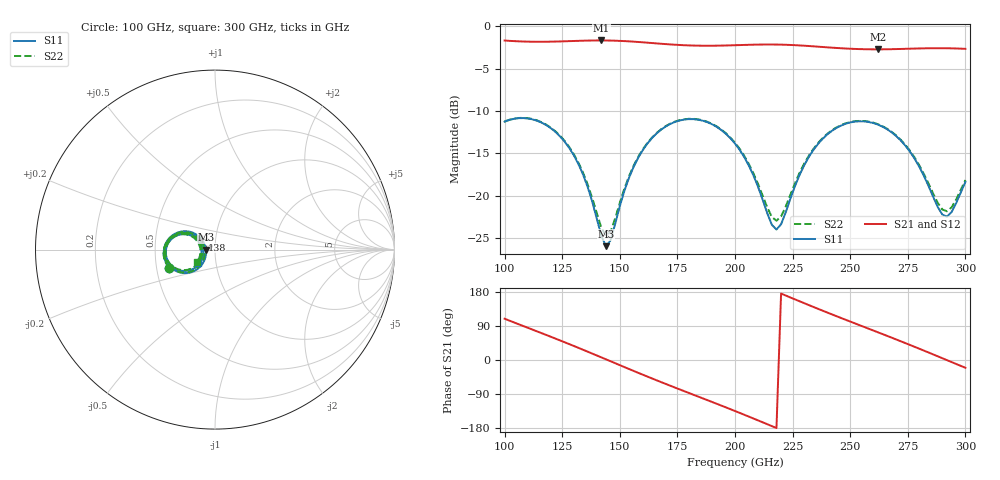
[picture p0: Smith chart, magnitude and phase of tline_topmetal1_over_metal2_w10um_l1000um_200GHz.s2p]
#  GHZ S DB R 50
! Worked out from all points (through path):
!   101 points, 100 GHz to 300 GHz, reference 50 ohm
!   highest |S21| = -1.69 dB at 142 GHz (marker M1); lowest = -2.7 dB at 262 GHz (marker M2)
!   group delay of S21, straight-line fit = 6.8 ps
!   lowest |S11| = -26.0 dB at 144 GHz (marker M3), VSWR 1.11, Z = 45.2 - j0.106 ohm
!   |S11| at or under -10 dB: start of sweep to end of sweep
!   |S22| runs from -24.8 to -10.8 dB; largest |S21 - S12| = 9.5e-14
!   S11 on the Smith chart (normalised r, x): 100 GHz: 0.58, -0.13; 138 GHz: 0.86, +0.10; 300 GHz: 0.82, -0.12
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100  -11.27 -158.4  -1.70 108.9  -1.70 108.9  -11.24 -157.9
116  -11.37 169.3  -1.84 71.0  -1.84 71.0  -11.33 170.5
126  -13.61 150.8  -1.79 47.0  -1.79 47.0  -13.52 152.7
134  -17.47 140.9  -1.72 27.2  -1.72 27.2  -17.25 143.8
138  -20.67 142.4  -1.70 17.1  -1.70 17.1  -20.24 146.2
142  -24.75 160.5  -1.69 6.9  -1.69 6.9  -23.78 163.6
144  -25.95 -178.7  -1.69 1.8  -1.69 1.8  -24.75 -178.3
156  -16.59 -132.2  -1.83 -28.8  -1.83 -28.8  -16.46 -134.3
168  -12.19 -150.5  -2.08 -58.5  -2.08 -58.5  -12.15 -151.2
184  -11.03 179.4  -2.30 -96.5  -2.30 -96.5  -10.99 179.6
200  -13.85 151.8  -2.25 -134.6  -2.25 -134.6  -13.75 153.2
210  -18.95 145.9  -2.18 -159.4  -2.18 -159.4  -18.61 148.7
218  -23.99 -175.4  -2.17 -179.6  -2.17 -179.6  -22.95 -175.7
226  -18.89 -137.8  -2.24 160.1  -2.24 160.1  -18.55 -141.1
234  -14.62 -141.3  -2.38 140.1  -2.38 140.1  -14.49 -143.5
248  -11.51 -163.5  -2.64 106.2  -2.64 106.2  -11.46 -164.6
262  -11.61 172.0  -2.74 73.2  -2.74 73.2  -11.56 171.6
268  -12.53 162.3  -2.72 58.9  -2.72 58.9  -12.47 162.2
280  -16.59 149.6  -2.63 29.7  -2.63 29.7  -16.42 150.3
290  -22.22 173.8  -2.60 4.7  -2.60 4.7  -21.63 173.7
294  -21.93 -161.0  -2.62 -5.4  -2.62 -5.4  -21.38 -163.2
300  -18.38 -142.7  -2.68 -20.5  -2.68 -20.5  -18.15 -145.5
